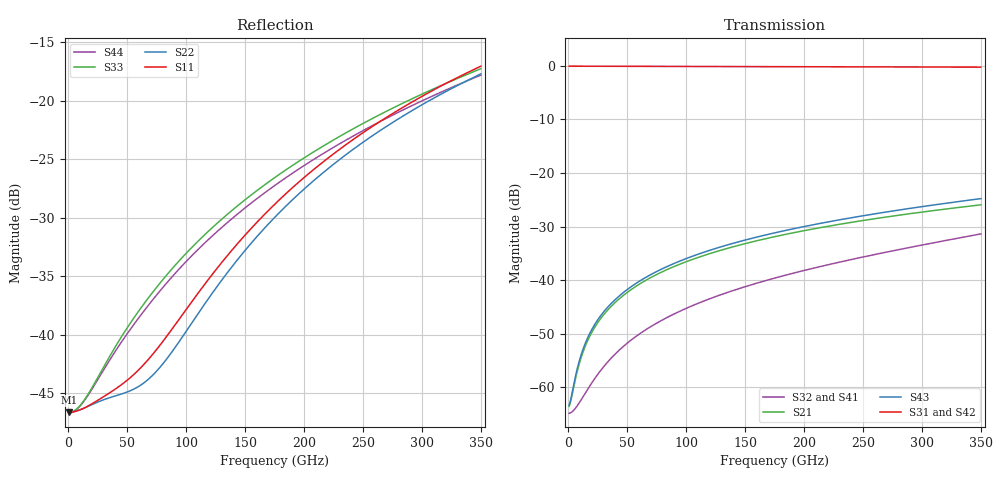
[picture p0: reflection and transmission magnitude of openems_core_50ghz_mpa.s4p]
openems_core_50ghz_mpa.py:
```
import os
import sys
sys.path.insert(0, os.path.abspath(os.path.join(os.path.dirname(__file__), 'modules')))

import modules.util_stackup_reader as stackup_reader
import modules.util_gds_reader as gds_reader
import modules.util_utilities as utilities
import modules.util_simulation_setup as simulation_setup
import modules.util_meshlines as util_meshlines

import os
import matplotlib.pyplot as plt  # pip install matplotlib
import numpy as np
from CSXCAD import ContinuousStructure
from CSXCAD import AppCSXCAD_BIN
from openEMS import openEMS
from openEMS.physical_constants import *


# Model comments
# Changes for IHP Analog Academy in 01/2026:
# Changed to MUR boundary at zmax so that radiation can be absorbed.
# From experience, using MUR can create numerical issue when it touches the lossy silicon, so it is ONLY used at zmax.
# All other boundaries use PEC, for best simulation speed.
# Distance to side walls reduced, we have not much field there because of the Metal1 ground layout.

# This model uses an alternative syntax where are settings are stored in settings dictionary,
# which makes it easier to implement future extensions without touching again the 
# simulation model code


# ======================== workflow settings ================================
settings = {}

settings['preview_only'] = False  # @brief Enable this to preview model/mesh only, without starting simulation
settings['postprocess_only'] = False # @brief Enable this to show existing results only, without starting simulation

# ===================== input files and path settings =======================

# GDS filename
gds_filename = "../layout_gds/50_ghz_mpa_core_no_BJT.gds"      # geometries
XML_filename = "SG13G2.xml"       # stackup

settings['purpose'] = [0] # @brief Which GDSII data type is evaluated? Values in [] can be separated by comma
settings['preprocess_gds'] = False  # @brief  Preprocess GDSII for safe handling of cutouts/holes?
settings['merge_polygon_size'] = 0.5 #  @brief  Merge via polygons with distance less than .. microns, set to 0 to disable via merging.

# get path for this simulation file
script_path = utilities.get_script_path(__file__)

# use script filename as model basename
model_basename = utilities.get_basename(__file__)

# set and create directory for simulation output
sim_path = utilities.create_sim_path (script_path,model_basename)
print('Simulation data directory: ', sim_path)


# ======================== simulation settings ================================


settings['unit']   = 1e-06  # @brief Geometry units, 1E-6 is in microns
settings['margin'] = 20    # @brief Distance from GDSII geometry boundary to simulation boundary, in project units 

settings['fstart']   = 0e9  # @brief start frequency [Hz]
settings['fstop']    = 350e9 # @brief stop frequency [Hz]
settings['numfreq']  = 401  # @brief number of frequency steps [Hz]

settings['refined_cellsize'] = 0.5  # @brief mesh cell size in conductor region, in project units

# choices for boundary:
# 'PEC' : perfect electric conductor (default)
# 'PMC' : perfect magnetic conductor, useful for symmetries
# 'MUR' : simple MUR absorbing boundary conditions
# 'PML_8' : PML absorbing boundary conditions
settings['Boundaries'] = ['PEC', 'PEC', 'PEC', 'PEC', 'PEC', 'MUR']

settings['cells_per_wavelength'] = 20   # @brief how many mesh cells per wavelength, must be 10 or more
settings['energy_limit'] = -50          # @brief end criteria for residual energy (dB), default is -40


# ports from GDSII Data, polygon geometry from specified special layer
# note that for multiport simulation, excitations are switched on/off in simulation_setup.createSimulation below
simulation_ports = simulation_setup.all_simulation_ports()
# instead of in-plane port specified with target_layername, we here use via port specified with from_layername and to_layername. GND means bottom of simulation box
simulation_ports.add_port(simulation_setup.simulation_port(portnumber=1, voltage=1, port_Z0=50, source_layernum=201, from_layername='Metal3', to_layername='TopMetal2', direction='z'))
simulation_ports.add_port(simulation_setup.simulation_port(portnumber=2, voltage=1, port_Z0=50, source_layernum=202, from_layername='Metal3', to_layername='TopMetal2', direction='z'))
simulation_ports.add_port(simulation_setup.simulation_port(portnumber=3, voltage=1, port_Z0=50, source_layernum=203, target_layername='Metal2', direction='-x'))
simulation_ports.add_port(simulation_setup.simulation_port(portnumber=4, voltage=1, port_Z0=50, source_layernum=204, target_layername='Metal2', direction='x'))

# ======================== simulation ================================

# get technology stackup data
materials_list, dielectrics_list, metals_list = stackup_reader.read_substrate (XML_filename)
# get list of layers from technology
layernumbers = metals_list.getlayernumbers()
layernumbers.extend(simulation_ports.portlayers)

# read geometries from GDSII, only purpose 0
allpolygons = gds_reader.read_gds(gds_filename,
                                  layernumbers,
                                  purposelist=settings['purpose'],
                                  metals_list=metals_list,
                                  preprocess=settings['preprocess_gds'],
                                  merge_polygon_size=settings['merge_polygon_size'])


########### create model, run and post-process ###########

settings['simulation_ports'] = simulation_ports
settings['materials_list'] = materials_list
settings['dielectrics_list'] = dielectrics_list
settings['metals_list'] = metals_list
settings['layernumbers'] = layernumbers
settings['allpolygons'] = allpolygons
settings['sim_path'] = sim_path
settings['model_basename'] = model_basename

# define excitation and stop criteria and boundaries
FDTD = openEMS(EndCriteria=np.exp(settings['energy_limit']/10 * np.log(10)))
FDTD.SetGaussExcite((settings['fstart'] + settings['fstop'])/2,
                    (settings['fstop'] - settings['fstart'])/2)
FDTD.SetBoundaryCond(settings['Boundaries'])


########### create model, run and post-process ###########

# run all port excitations, one after another
for port in simulation_ports.ports:
    settings['excite_portnumbers'] = [port.portnumber]

    # prepare model from GDSII data
    simulation_setup.setupSimulation(FDTD=FDTD, settings=settings)  # must use named parameters when using settings dict!

    # preview model and start simulation
    simulation_setup.runSimulation(FDTD=FDTD, settings=settings)    # must use named parameters when using settings dict!


# Initialize an empty matrix for S-parameters
num_ports = simulation_ports.portcount
s_params = np.empty((num_ports, num_ports, settings['numfreq']), dtype=object)

# Define frequency resolution (postprocessing)
f = np.linspace(settings['fstart'], settings['fstop'], settings['numfreq'])

# Populate the S-parameter matrix with simulation results
for i in range(1, num_ports + 1):
    for j in range(1, num_ports + 1):
        s_params[i-1, j-1] = utilities.calculate_Sij(i, j, f, sim_path, simulation_ports)

# Write to Touchstone *.snp file
snp_name = os.path.join(sim_path, model_basename + '.s' + str(num_ports) + 'p')
utilities.write_snp(s_params, f, snp_name)

print('Created S-parameter output file at ', snp_name)


# ------------------ optional data plots -----------------------------


def dB(value):
    value = np.asarray(value, dtype=np.complex128)
    return 20.0*np.log10(np.abs(value))        

def phase(value):
    value = np.asarray(value, dtype=np.complex128)
    return np.angle(value, deg=True) 

def S(i,j):
    # get S-params from zero-based data array
    return s_params[i-1, j-1]


print('\nStarting plots')

fig, axis = plt.subplots(num="S11", tight_layout=True)
axis.plot(f/1e9, dB(S(1,1)), 'k-',  linewidth=2, label='dB(S11)')
axis.grid()
axis.set_xmargin(0)
axis.set_xlabel('Frequency (GHz)')
axis.set_ylabel('S (dB)')
axis.set_title("Input matching")
axis.legend()

fig, axis = plt.subplots(num="S31", tight_layout=True)
axis.plot(f/1e9, dB(S(2,1)), 'k-',  linewidth=2, label='dB(S21)')
axis.plot(f/1e9, dB(S(3,1)), 'r--', linewidth=2, label='dB(S31)')
axis.grid()
axis.set_xmargin(0)
axis.set_xlabel('Frequency (GHz)')
axis.set_ylabel('S (dB)')
axis.set_title("Transmission")
axis.legend()

# show all plots
plt.show()
```
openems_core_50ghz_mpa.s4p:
#  Hz  S  RI  R  50
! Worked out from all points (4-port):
!   400 points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, 875 MHz to 350 GHz, reference 50 ohm
!   strongest paths, dB at 875 MHz, 88.38 GHz, 175.9 GHz, 263.4 GHz, 350 GHz:
!     S31: 0.0, -0.1, -0.1, -0.2, -0.2
!     S42: 0.0, -0.1, -0.1, -0.2, -0.2
!     S43: -63.4, -37.0, -31.1, -27.5, -24.8
!     S21: -63.6, -37.6, -31.9, -28.4, -25.9
!     S32: -64.9, -46.5, -39.6, -35.1, -31.4
!     S41: -64.9, -46.8, -39.8, -35.3, -31.5
!   lowest |S11| = -46.6 dB at 875 MHz (marker M1), VSWR 1.01, Z = 50.5 - j0.00449 ohm
!   |S11| at or under -10 dB: start of sweep to end of sweep
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8.75e8  0.00467 -4.45e-05  0.000647 0.000137  0.9949 -0.0021  -0.000572 3.21e-05
        0.000646 0.000137  0.00468 -2.28e-05  -0.000576 2.93e-05  0.9948 -0.00211
        0.9949 -0.00208  -0.000569 3.83e-05  0.00465 -3.11e-05  0.000673 0.00015
        -0.000568 3.63e-05  0.9948 -0.0021  0.000662 0.000149  0.00463 -4.67e-06
7.6125e10  -0.00034 -0.0088  0.00479 0.0104  0.9751 -0.1738  -0.000336 0.00358
           0.00479 0.0104  0.000451 -0.00709  -0.000416 0.00335  0.9751 -0.1741
           0.9756 -0.1716  -0.000217 0.00402  0.0128 -0.01  0.00158 0.0122
           -0.000244 0.00388  0.9751 -0.1729  0.00161 0.0121  0.0128 -0.00789
3.5e11  -0.1264 0.0619  0.0504 -0.00232  0.6687 -0.7049  0.0217 0.0129
        0.0504 -0.00229  -0.1162 0.0595  0.0205 0.0127  0.67 -0.7071
        0.6789 -0.6985  0.0229 0.0144  0.0555 -0.1256  0.0113 0.0573
        0.0226 0.0137  0.674 -0.7019  0.0117 0.0565  0.0553 -0.1165
